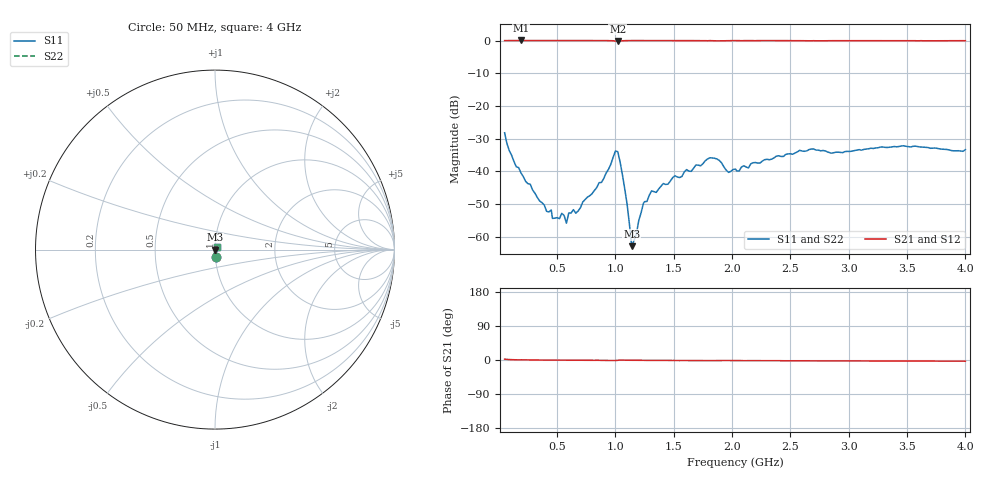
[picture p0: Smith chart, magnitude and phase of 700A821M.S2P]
!  American Technical Ceramics  Date:  3/13/98
!  One Norden Lane
!  Huntington Station,  NY.  11746-2102
!  Tel:  (516) 547-5700  Fax:  (516) 547-5748
!  Part Number  700A821M
!  Description: Porcelain, High Q, Low ESR
!  Application: Bypass, Coupling, Timing, Feedback
!  Tuning, Impedance Match, Blocking
# GHZ S DB R 50
! Freq  |S11|  S11 Ph  |S21|  S21 Ph  |S12|  S12 Ph  |S22|  S22 Ph
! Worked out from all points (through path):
!   201 points, 50 MHz to 4 GHz, reference 50 ohm
!   highest |S21| = 0.02 dB at 190 MHz (marker M1); lowest = -0.2 dB at 1.02 GHz (marker M2)
!   lowest |S11| = -63.0 dB at 1.14 GHz (marker M3), VSWR 1.00, Z = 50.1 + j0.012 ohm
!   |S11| at or under -10 dB: start of sweep to end of sweep
!   |S22| runs from -63.0 to -28.2 dB; largest |S21 - S12| = 0
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0.05  -28.25 -84.2  -0.02 2.2  -0.02 2.2  -28.25 -84.2
0.09  -33.71 -97.1  -0.01 1.1  -0.01 1.1  -33.71 -97.1
0.19  -40.49 -105.0  0.02 0.5  0.02 0.5  -40.49 -105.0
0.41  -52.28 -128.6  0.00 -0.2  0.00 -0.2  -52.28 -128.6
0.45  -51.86 -156.2  0.01 -0.3  0.01 -0.3  -51.86 -156.2
0.46  -54.45 -158.8  0.00 -0.2  0.00 -0.2  -54.45 -158.8
0.54  -52.90 -178.5  0.01 -0.4  0.01 -0.4  -52.90 -178.5
0.58  -55.92 150.9  0.00 -0.5  0.00 -0.5  -55.92 150.9
0.6  -52.81 158.9  0.00 -0.6  0.00 -0.6  -52.81 158.9
0.72  -49.43 115.1  0.00 -0.7  0.00 -0.7  -49.43 115.1
0.88  -43.45 88.3  -0.01 -0.9  -0.01 -0.9  -43.45 88.3
1.02  -34.03 -0.6  -0.17 -0.7  -0.17 -0.7  -34.03 -0.6
1.1  -50.09 -60.3  -0.02 -0.5  -0.02 -0.5  -50.09 -60.3
1.14  -62.95 9.7  -0.01 -0.5  -0.01 -0.5  -62.95 9.7
1.24  -49.82 81.0  -0.01 -0.9  -0.01 -0.9  -49.82 81.0
1.37  -45.48 85.8  -0.02 -1.1  -0.02 -1.1  -45.48 85.8
1.81  -35.90 59.9  -0.03 -1.7  -0.03 -1.7  -35.90 59.9
1.97  -40.36 45.2  -0.04 -1.5  -0.04 -1.5  -40.36 45.2
2.03  -39.38 54.3  -0.03 -1.5  -0.03 -1.5  -39.38 54.3
2.7  -33.21 55.9  -0.06 -2.2  -0.06 -2.2  -33.21 55.9
3.35  -32.68 59.1  -0.05 -2.7  -0.05 -2.7  -32.68 59.1
4  -33.39 51.9  -0.05 -3.2  -0.05 -3.2  -33.39 51.9
